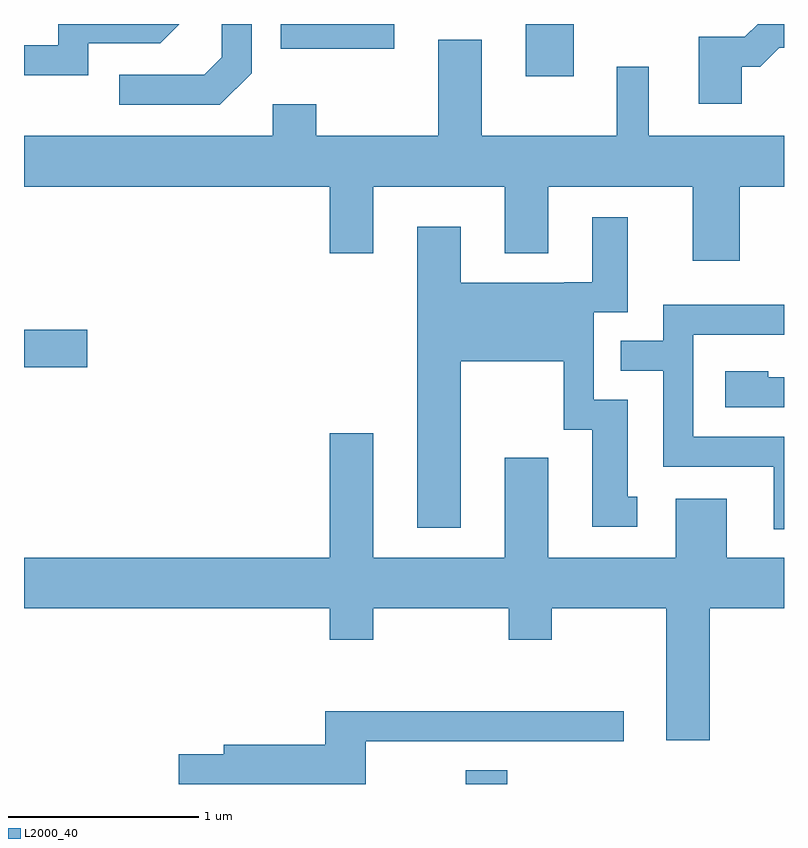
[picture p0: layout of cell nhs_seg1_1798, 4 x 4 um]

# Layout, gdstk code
import gdstk
lib = gdstk.Library(unit=1e-6, precision=1e-09)
def R(c, l, rs):  # rectangles x0, y0, x1, y1
    for r in rs: c.add(gdstk.rectangle(r[:2], r[2:], *l))
def P(c, l, *ps):  # polygons
    for p in ps: c.add(gdstk.Polygon(p, *l))
L2000_40 = (2000, 40)

nhs_seg1_1798 = lib.new_cell('nhs_seg1_1798')
R(nhs_seg1_1798, L2000_40, [(241.936,949.712,242.154,949.784), (239.611,951.906,239.944,952.104), (242.251,953.436,242.504,953.712), (240.961,953.581,241.559,953.712)])
P(nhs_seg1_1798, L2000_40, [(240.809,953.454),(240.809,953.712),(240.651,953.712),(240.651,953.537),(240.559,953.444),(240.113,953.444),(240.113,953.286),(240.642,953.286)],
  [(243.389,953.486),(243.487,953.486),(243.587,953.586),(243.611,953.586),(243.611,953.712),(243.472,953.712),(243.404,953.644),(243.161,953.644),(243.161,953.291),(243.389,953.291)],
  [(239.949,953.611),(240.327,953.611),(240.427,953.712),(239.791,953.712),(239.791,953.599),(239.611,953.599),(239.611,953.441),(239.949,953.441)],
  [(242.731,953.488),(242.731,953.124),(242.019,953.124),(242.019,953.629),(241.791,953.629),(241.791,953.124),(241.149,953.124),(241.149,953.289),(240.921,953.289),(240.921,953.124),(239.611,953.124),(239.611,952.856),(241.221,952.856),(241.221,952.506),(241.449,952.506),(241.449,952.856),(242.141,952.856),(242.141,952.506),(242.369,952.506),(242.369,952.856),(243.131,952.856),(243.131,952.466),(243.379,952.466),(243.379,952.856),(243.611,952.856),(243.611,953.124),(242.899,953.124),(242.899,953.488)],
  [(241.909,951.936),(242.451,951.936),(242.451,951.576),(242.601,951.576),(242.601,951.066),(242.838,951.066),(242.838,951.224),(242.789,951.224),(242.789,951.734),(242.609,951.734),(242.609,952.196),(242.789,952.196),(242.789,952.694),(242.601,952.694),(242.601,952.354),(242.455,952.354),(242.455,952.349),(241.909,952.349),(241.909,952.644),(241.681,952.644),(241.681,951.061),(241.909,951.061)],
  [(243.611,951.539),(243.134,951.539),(243.134,952.076),(243.611,952.076),(243.611,952.234),(242.976,952.234),(242.976,952.044),(242.753,952.044),(242.753,951.886),(242.976,951.886),(242.976,951.381),(243.556,951.381),(243.556,951.053),(243.611,951.053)],
  [(243.611,951.854),(243.529,951.854),(243.529,951.884),(243.301,951.884),(243.301,951.696),(243.611,951.696)],
  [(243.219,950.636),(243.611,950.636),(243.611,950.904),(243.309,950.904),(243.309,951.214),(243.041,951.214),(243.041,950.904),(242.369,950.904),(242.369,951.429),(242.141,951.429),(242.141,950.904),(241.449,950.904),(241.449,951.559),(241.221,951.559),(241.221,950.904),(239.611,950.904),(239.611,950.636),(241.221,950.636),(241.221,950.471),(241.449,950.471),(241.449,950.636),(242.161,950.636),(242.161,950.471),(242.389,950.471),(242.389,950.636),(242.991,950.636),(242.991,949.941),(243.219,949.941)],
  [(241.409,949.936),(242.768,949.936),(242.768,950.094),(241.196,950.094),(241.196,949.919),(240.661,949.919),(240.661,949.869),(240.426,949.869),(240.426,949.712),(241.409,949.712)])

lib.write_gds('nhs_seg1_1798.gds')
